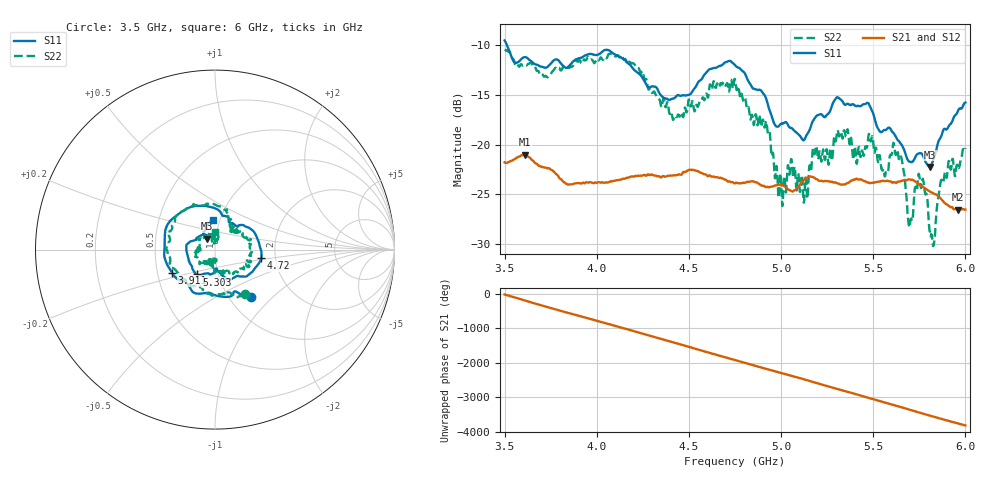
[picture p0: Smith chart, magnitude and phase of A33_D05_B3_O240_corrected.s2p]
! Created with skrf 1.9.0 (http://scikit-rf.org).
# Hz S RI R 50.0
!freq ReS11 ImS11 ReS21 ImS21 ReS12 ImS12 ReS22 ImS22
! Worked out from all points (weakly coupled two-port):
!   1601 points, 3.5 GHz to 6 GHz, reference 50 ohm
!   highest |S21| = -21.03 dB at 3.609 GHz (marker M1); lowest = -26.5 dB at 5.959 GHz (marker M2)
!   lowest |S11| = -22.3 dB at 5.808 GHz (marker M3), VSWR 1.17, Z = 45.2 + j5.52 ohm
!   |S11| at or under -10 dB: 3.512 GHz to end of sweep
!   |S22| runs from -30.2 to -10.5 dB; largest |S21 - S12| = 0.00098
!   S11 on the Smith chart (normalised r, x): 3.5 GHz: 1.25, -0.75; 3.911 GHz: 0.60, -0.17; 4.72 GHz: 1.68, -0.18; 5.303 GHz: 0.79, -0.22; 6 GHz: 0.93, +0.31
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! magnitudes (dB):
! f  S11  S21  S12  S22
! 3.5 GHz  -9.6  -21.8  -21.8  -10.5
! 3.609 GHz  -11.2  -21.0  -21.0  -12.0
! 3.911 GHz  -11.3  -23.9  -23.9  -11.6
! 3.917 GHz  -11.3  -23.9  -23.9  -11.8
! 4.128 GHz  -11.2  -23.5  -23.5  -11.2
! 4.334 GHz  -14.6  -23.2  -23.1  -15.4
! 4.423 GHz  -15.3  -23.1  -23.1  -17.1
! 4.72 GHz  -11.6  -23.7  -23.7  -14.5
! 4.75 GHz  -12.0  -23.9  -23.8  -13.5
! 4.927 GHz  -15.9  -24.2  -24.2  -18.7
! 4.997 GHz  -18.0  -24.1  -24.0  -22.9
! 5.048 GHz  -18.3  -24.6  -24.6  -22.5
! 5.133 GHz  -19.3  -23.4  -23.4  -23.3
! 5.167 GHz  -17.9  -23.3  -23.2  -21.6
! 5.303 GHz  -15.3  -23.9  -23.8  -18.8
! 5.584 GHz  -18.3  -23.7  -23.6  -22.1
! 5.645 GHz  -19.8  -23.7  -23.7  -21.4
! 5.7 GHz  -21.7  -23.5  -23.5  -27.9
! 5.759 GHz  -20.9  -24.1  -24.1  -24.4
! 5.808 GHz  -22.3  -24.7  -24.7  -28.7
! 5.959 GHz  -16.6  -26.5  -26.5  -22.4
! 6 GHz  -15.8  -26.5  -26.5  -20.3
